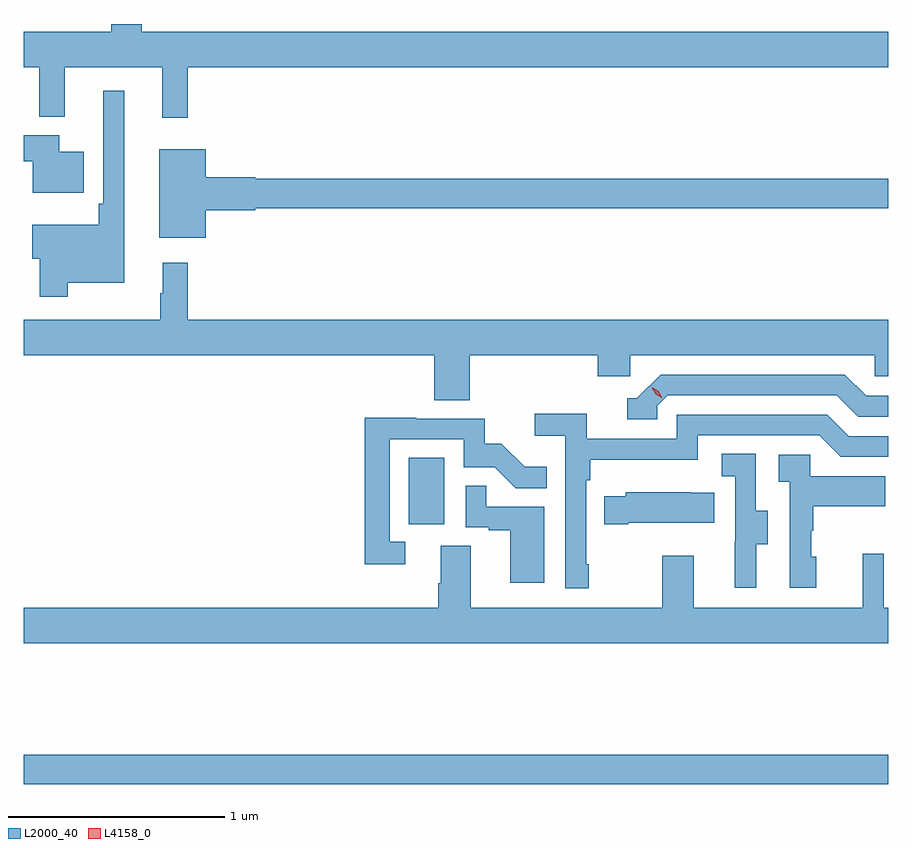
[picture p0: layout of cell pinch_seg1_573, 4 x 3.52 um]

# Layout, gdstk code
import gdstk
lib = gdstk.Library(unit=1e-6, precision=1e-09)
def R(c, l, rs):  # rectangles x0, y0, x1, y1
    for r in rs: c.add(gdstk.rectangle(r[:2], r[2:], *l))
def P(c, l, *ps):  # polygons
    for p in ps: c.add(gdstk.Polygon(p, *l))
L2000_40 = (2000, 40)
L4158_0 = (4158, 0)

pinch_seg1_573 = lib.new_cell('pinch_seg1_573')
R(pinch_seg1_573, L2000_40, [(1044.212,520.444,1048.212,520.58), (1045.994,521.645,1046.158,521.953)])
P(pinch_seg1_573, L2000_40, [(1044.971,523.76),(1048.212,523.76),(1048.212,523.924),(1044.757,523.924),(1044.757,523.961),(1044.617,523.961),(1044.617,523.924),(1044.212,523.924),(1044.212,523.76),(1044.283,523.76),(1044.283,523.532),(1044.401,523.532),(1044.401,523.76),(1044.853,523.76),(1044.853,523.527),(1044.971,523.527)],
  [(1044.415,522.764),(1044.676,522.764),(1044.676,523.651),(1044.579,523.651),(1044.579,523.129),(1044.559,523.129),(1044.559,523.033),(1044.252,523.033),(1044.252,522.875),(1044.286,522.875),(1044.286,522.699),(1044.415,522.699)],
  [(1044.49,523.369),(1044.376,523.369),(1044.376,523.447),(1044.212,523.447),(1044.212,523.325),(1044.254,523.325),(1044.254,523.181),(1044.49,523.181)],
  [(1045.054,523.1),(1045.284,523.1),(1045.284,523.108),(1048.212,523.108),(1048.212,523.244),(1045.284,523.244),(1045.284,523.252),(1045.054,523.252),(1045.054,523.381),(1044.839,523.381),(1044.839,522.971),(1045.054,522.971)],
  [(1046.276,522.428),(1046.867,522.428),(1046.867,522.33),(1047.018,522.33),(1047.018,522.428),(1048.149,522.428),(1048.149,522.33),(1048.212,522.33),(1048.212,522.592),(1044.971,522.592),(1044.971,522.856),(1044.854,522.856),(1044.854,522.716),(1044.843,522.716),(1044.843,522.592),(1044.212,522.592),(1044.212,522.428),(1046.111,522.428),(1046.111,522.22),(1046.276,522.22)],
  [(1047.144,522.195),(1047.192,522.243),(1047.975,522.243),(1048.074,522.144),(1048.212,522.144),(1048.212,522.24),(1048.111,522.24),(1048.012,522.339),(1047.159,522.339),(1047.048,522.228),(1047.005,522.228),(1047.005,522.132),(1047.144,522.132)],
  [(1046.827,521.461),(1046.814,521.461),(1046.814,521.849),(1046.834,521.849),(1046.834,521.945),(1047.33,521.945),(1047.33,522.057),(1047.894,522.057),(1047.993,521.958),(1048.212,521.958),(1048.212,522.054),(1048.03,522.054),(1047.931,522.153),(1047.234,522.153),(1047.234,522.042),(1046.816,522.042),(1046.816,522.158),(1046.577,522.158),(1046.577,522.056),(1046.718,522.056),(1046.718,521.349),(1046.827,521.349)],
  [(1045.978,521.565),(1045.905,521.565),(1045.905,522.039),(1046.247,522.039),(1046.247,521.91),(1046.391,521.91),(1046.489,521.812),(1046.633,521.812),(1046.633,521.911),(1046.529,521.911),(1046.422,522.018),(1046.346,522.018),(1046.346,522.135),(1046.027,522.135),(1046.027,522.14),(1045.789,522.14),(1045.789,521.46),(1045.978,521.46)],
  [(1047.601,521.554),(1047.655,521.554),(1047.655,521.709),(1047.6,521.709),(1047.6,521.972),(1047.441,521.972),(1047.441,521.869),(1047.504,521.869),(1047.504,521.565),(1047.503,521.565),(1047.503,521.352),(1047.601,521.352)],
  [(1047.88,521.496),(1047.855,521.496),(1047.855,521.615),(1047.865,521.615),(1047.865,521.729),(1048.199,521.729),(1048.199,521.869),(1047.852,521.869),(1047.852,521.967),(1047.705,521.967),(1047.705,521.843),(1047.756,521.843),(1047.756,521.352),(1047.88,521.352)],
  [(1046.62,521.727),(1046.351,521.727),(1046.351,521.825),(1046.256,521.825),(1046.256,521.631),(1046.363,521.631),(1046.363,521.619),(1046.462,521.619),(1046.462,521.376),(1046.62,521.376)],
  [(1047.01,521.654),(1047.407,521.654),(1047.407,521.791),(1047.299,521.791),(1047.299,521.794),(1046.997,521.794),(1046.997,521.776),(1046.899,521.776),(1046.899,521.647),(1047.01,521.647)],
  [(1048.212,521.26),(1048.191,521.26),(1048.191,521.509),(1048.094,521.509),(1048.094,521.26),(1047.313,521.26),(1047.313,521.5),(1047.166,521.5),(1047.166,521.26),(1046.281,521.26),(1046.281,521.546),(1046.141,521.546),(1046.141,521.372),(1046.129,521.372),(1046.129,521.26),(1044.212,521.26),(1044.212,521.096),(1048.212,521.096)])
P(pinch_seg1_573, L4158_0, [(1047.167,522.228),(1047.136,522.247),(1047.119,522.279),(1047.119,522.28),(1047.119,522.28),(1047.15,522.261),(1047.167,522.228),(1047.167,522.228)])

lib.write_gds('pinch_seg1_573.gds')
